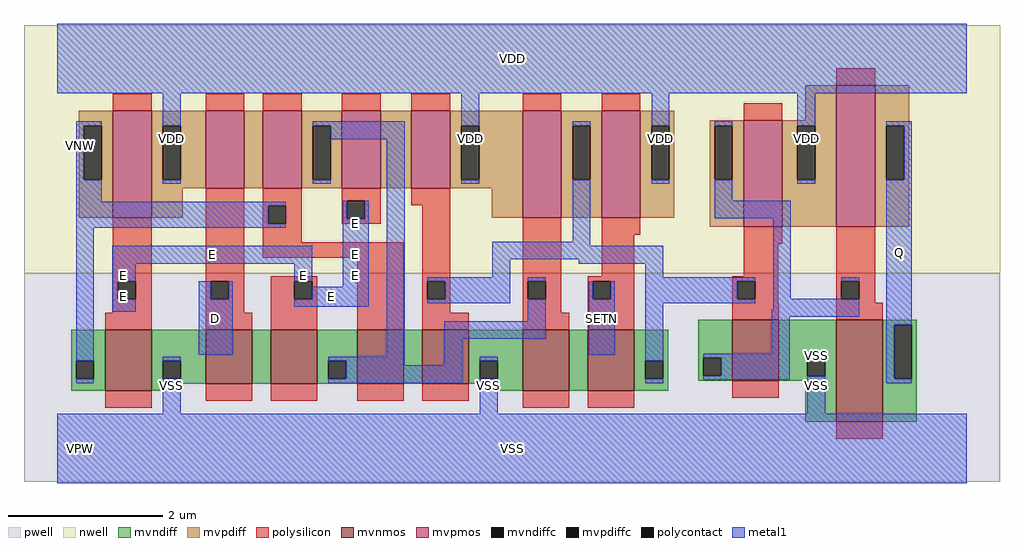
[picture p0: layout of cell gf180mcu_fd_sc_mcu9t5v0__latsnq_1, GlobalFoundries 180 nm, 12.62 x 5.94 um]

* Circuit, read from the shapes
.subckt gf180mcu_fd_sc_mcu9t5v0__latsnq_1 D E SETN Q VDD VNW VPW VSS
XM1 VSS E n1 VPW nfet_06v0 w=0.79u l=0.6u
XM2 n2 D VSS VPW nfet_06v0 w=0.7u l=0.6u
XM3 n3 E n2 VPW nfet_06v0 w=0.7u l=0.6u
XM4 n4 n1 n3 VPW nfet_06v0 w=0.7u l=0.6u
XM5 VSS n5 n4 VPW nfet_06v0 w=0.7u l=0.6u
XM6 n6 n3 VSS VPW nfet_06v0 w=0.79u l=0.6u
XM7 n5 SETN n6 VPW nfet_06v0 w=0.79u l=0.6u
XM8 VSS n5 n7 VPW nfet_06v0 w=0.79u l=0.6u
XM9 Q n7 VSS VPW nfet_06v0 w=1.32u l=0.6u
XM10 VDD E n1 VNW pfet_06v0 w=1.38u l=0.5u
XM11 n8 D VDD VNW pfet_06v0 w=1u l=0.5u
XM12 n3 n1 n8 VNW pfet_06v0 w=1u l=0.5u
XM13 n9 E n3 VNW pfet_06v0 w=1u l=0.5u
XM14 VDD n5 n9 VNW pfet_06v0 w=1u l=0.5u
XM15 n5 n3 VDD VNW pfet_06v0 w=1.38u l=0.5u
XM16 VDD SETN n5 VNW pfet_06v0 w=1.38u l=0.5u
XM17 VDD n5 n7 VNW pfet_06v0 w=1.38u l=0.5u
XM18 Q n7 VDD VNW pfet_06v0 w=1.83u l=0.5u
.ends

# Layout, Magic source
magic
tech gf180mcuD
magscale 1 10
<< nwell >>
rect -86 453 2438 1094
<< pwell >>
rect -86 -86 2438 453
<< mvnmos >>
rect 124 149 244 307
rect 384 167 504 307
rect 552 167 672 307
rect 776 167 896 307
rect 944 167 1064 307
rect 1204 149 1324 307
rect 1372 149 1492 307
rect 1746 175 1866 333
rect 2015 69 2135 333
<< mvpmos >>
rect 144 597 244 873
rect 384 673 484 873
rect 532 673 632 873
rect 736 673 836 873
rect 916 673 1016 873
rect 1204 597 1304 873
rect 1408 597 1508 873
rect 1775 573 1875 849
rect 2015 573 2115 939
<< mvndiff >>
rect 36 226 124 307
rect 36 180 49 226
rect 95 180 124 226
rect 36 149 124 180
rect 244 226 384 307
rect 244 180 273 226
rect 319 180 384 226
rect 244 167 384 180
rect 504 167 552 307
rect 672 226 776 307
rect 672 180 701 226
rect 747 180 776 226
rect 672 167 776 180
rect 896 167 944 307
rect 1064 226 1204 307
rect 1064 180 1093 226
rect 1139 180 1204 226
rect 1064 167 1204 180
rect 244 149 324 167
rect 1124 149 1204 167
rect 1324 149 1372 307
rect 1492 226 1580 307
rect 1492 180 1521 226
rect 1567 180 1580 226
rect 1492 149 1580 180
rect 1658 234 1746 333
rect 1658 188 1671 234
rect 1717 188 1746 234
rect 1658 175 1746 188
rect 1866 233 2015 333
rect 1866 187 1940 233
rect 1986 187 2015 233
rect 1866 175 2015 187
rect 1935 69 2015 175
rect 2135 320 2223 333
rect 2135 180 2164 320
rect 2210 180 2223 320
rect 2135 69 2223 180
<< mvpdiff >>
rect 56 835 144 873
rect 56 695 69 835
rect 115 695 144 835
rect 56 597 144 695
rect 244 835 384 873
rect 244 695 273 835
rect 319 695 384 835
rect 244 673 384 695
rect 484 673 532 873
rect 632 835 736 873
rect 632 695 661 835
rect 707 695 736 835
rect 632 673 736 695
rect 836 673 916 873
rect 1016 835 1204 873
rect 1016 695 1045 835
rect 1091 695 1204 835
rect 1016 673 1204 695
rect 244 597 324 673
rect 1124 597 1204 673
rect 1304 835 1408 873
rect 1304 695 1333 835
rect 1379 695 1408 835
rect 1304 597 1408 695
rect 1508 835 1596 873
rect 1935 849 2015 939
rect 1508 695 1537 835
rect 1583 695 1596 835
rect 1508 597 1596 695
rect 1687 835 1775 849
rect 1687 695 1700 835
rect 1746 695 1775 835
rect 1687 573 1775 695
rect 1875 835 2015 849
rect 1875 695 1914 835
rect 1960 695 2015 835
rect 1875 573 2015 695
rect 2115 835 2203 939
rect 2115 695 2144 835
rect 2190 695 2203 835
rect 2115 573 2203 695
<< mvndiffc >>
rect 49 180 95 226
rect 273 180 319 226
rect 701 180 747 226
rect 1093 180 1139 226
rect 1521 180 1567 226
rect 1671 188 1717 234
rect 1940 187 1986 233
rect 2164 180 2210 320
<< mvpdiffc >>
rect 69 695 115 835
rect 273 695 319 835
rect 661 695 707 835
rect 1045 695 1091 835
rect 1333 695 1379 835
rect 1537 695 1583 835
rect 1700 695 1746 835
rect 1914 695 1960 835
rect 2144 695 2190 835
<< polysilicon >>
rect 2015 939 2115 983
rect 144 873 244 917
rect 384 873 484 917
rect 532 873 632 917
rect 736 873 836 917
rect 916 873 1016 917
rect 1204 873 1304 917
rect 1408 873 1508 917
rect 144 432 244 597
rect 144 386 157 432
rect 203 386 244 432
rect 144 351 244 386
rect 124 307 244 351
rect 384 432 484 673
rect 532 627 632 673
rect 532 581 545 627
rect 591 581 632 627
rect 736 640 836 673
rect 736 594 749 640
rect 795 594 836 640
rect 916 629 1016 673
rect 736 581 836 594
rect 532 533 632 581
rect 532 493 896 533
rect 384 386 397 432
rect 443 386 484 432
rect 384 351 484 386
rect 552 432 672 445
rect 552 386 613 432
rect 659 386 672 432
rect 384 307 504 351
rect 552 307 672 386
rect 776 307 896 493
rect 944 432 1016 629
rect 1775 849 1875 893
rect 944 386 957 432
rect 1003 386 1016 432
rect 944 351 1016 386
rect 1204 432 1304 597
rect 1408 553 1508 597
rect 1408 445 1492 553
rect 1775 529 1875 573
rect 1775 445 1865 529
rect 1204 386 1217 432
rect 1263 386 1304 432
rect 1204 351 1304 386
rect 1372 432 1492 445
rect 1372 386 1385 432
rect 1431 386 1492 432
rect 944 307 1064 351
rect 1204 307 1324 351
rect 1372 307 1492 386
rect 1746 432 1865 445
rect 1746 386 1759 432
rect 1805 386 1865 432
rect 1746 377 1865 386
rect 2015 432 2115 573
rect 2015 386 2028 432
rect 2074 386 2115 432
rect 2015 377 2115 386
rect 1746 333 1866 377
rect 2015 333 2135 377
rect 124 105 244 149
rect 384 123 504 167
rect 552 123 672 167
rect 776 123 896 167
rect 944 123 1064 167
rect 1204 105 1324 149
rect 1372 105 1492 149
rect 1746 131 1866 175
rect 2015 25 2135 69
<< polycontact >>
rect 157 386 203 432
rect 545 581 591 627
rect 749 594 795 640
rect 397 386 443 432
rect 613 386 659 432
rect 957 386 1003 432
rect 1217 386 1263 432
rect 1385 386 1431 432
rect 1759 386 1805 432
rect 2028 386 2074 432
<< metal1 >>
rect 0 918 2352 1098
rect 49 835 115 846
rect 49 695 69 835
rect 49 638 115 695
rect 273 835 319 918
rect 273 684 319 695
rect 661 835 898 846
rect 707 800 898 835
rect 661 684 707 695
rect 49 627 591 638
rect 49 581 545 627
rect 49 570 591 581
rect 738 594 749 640
rect 795 594 806 640
rect 49 226 95 570
rect 142 478 659 524
rect 142 432 203 478
rect 613 432 659 478
rect 142 386 157 432
rect 142 354 203 386
rect 366 386 397 432
rect 443 386 454 432
rect 366 242 454 386
rect 738 418 806 594
rect 659 386 806 418
rect 613 366 806 386
rect 852 237 898 800
rect 1045 835 1091 918
rect 1045 684 1091 695
rect 1333 835 1379 846
rect 1333 535 1379 695
rect 1537 835 1583 918
rect 1537 684 1583 695
rect 1700 835 1746 846
rect 1700 641 1746 695
rect 1914 835 1960 918
rect 1914 684 1960 695
rect 2144 835 2210 846
rect 2190 695 2210 835
rect 1700 595 1897 641
rect 1125 524 1379 535
rect 1125 489 1567 524
rect 1125 443 1171 489
rect 1349 478 1567 489
rect 1521 443 1567 478
rect 957 432 1171 443
rect 1003 386 1171 432
rect 957 375 1171 386
rect 1217 432 1263 443
rect 1521 432 1805 443
rect 1217 329 1263 386
rect 49 169 95 180
rect 273 226 319 237
rect 273 90 319 180
rect 701 226 898 237
rect 747 215 898 226
rect 1001 283 1263 329
rect 1374 386 1385 432
rect 1431 386 1442 432
rect 1001 215 1047 283
rect 1374 242 1442 386
rect 1521 386 1759 432
rect 1521 375 1805 386
rect 1851 387 1897 595
rect 2028 432 2074 443
rect 1851 386 2028 387
rect 747 180 1047 215
rect 701 169 1047 180
rect 1093 226 1139 237
rect 1093 90 1139 180
rect 1521 226 1567 375
rect 1851 358 2074 386
rect 1848 341 2074 358
rect 1848 245 1894 341
rect 1521 169 1567 180
rect 1671 234 1894 245
rect 2144 320 2210 695
rect 1717 188 1894 234
rect 1671 177 1894 188
rect 1940 233 1986 244
rect 1940 90 1986 187
rect 2144 180 2164 320
rect 2144 169 2210 180
rect 0 -90 2352 90
<< labels >>
flabel metal1 s 366 242 454 432 0 FreeSans 200 0 0 0 D
port 1 nsew default input
flabel metal1 s 738 524 806 640 0 FreeSans 200 0 0 0 E
port 2 nsew clock input
flabel metal1 s 2144 169 2210 846 0 FreeSans 200 0 0 0 Q
port 4 nsew default output
flabel metal1 s 1374 242 1442 432 0 FreeSans 200 0 0 0 SETN
port 3 nsew default input
flabel metal1 s 0 918 2352 1098 0 FreeSans 200 0 0 0 VDD
port 5 nsew power bidirectional abutment
flabel metal1 s 1940 237 1986 244 0 FreeSans 200 0 0 0 VSS
port 8 nsew ground bidirectional abutment
flabel nwell s 10 734 110 834 0 FreeSans 400 0 0 0 VNW
port 6 nsew power bidirectional
flabel pwell s 10 -50 110 50 0 FreeSans 400 0 0 0 VPW
port 7 nsew ground bidirectional
rlabel metal1 s 738 478 806 524 1 E
port 2 nsew clock input
rlabel metal1 s 142 478 659 524 1 E
port 2 nsew clock input
rlabel metal1 s 738 418 806 478 1 E
port 2 nsew clock input
rlabel metal1 s 613 418 659 478 1 E
port 2 nsew clock input
rlabel metal1 s 142 418 203 478 1 E
port 2 nsew clock input
rlabel metal1 s 613 366 806 418 1 E
port 2 nsew clock input
rlabel metal1 s 142 366 203 418 1 E
port 2 nsew clock input
rlabel metal1 s 142 354 203 366 1 E
port 2 nsew clock input
rlabel metal1 s 1914 684 1960 918 1 VDD
port 5 nsew power bidirectional abutment
rlabel metal1 s 1537 684 1583 918 1 VDD
port 5 nsew power bidirectional abutment
rlabel metal1 s 1045 684 1091 918 1 VDD
port 5 nsew power bidirectional abutment
rlabel metal1 s 273 684 319 918 1 VDD
port 5 nsew power bidirectional abutment
rlabel metal1 s 1940 90 1986 237 1 VSS
port 8 nsew ground bidirectional abutment
rlabel metal1 s 1093 90 1139 237 1 VSS
port 8 nsew ground bidirectional abutment
rlabel metal1 s 273 90 319 237 1 VSS
port 8 nsew ground bidirectional abutment
rlabel metal1 s 0 -90 2352 90 1 VSS
port 8 nsew ground bidirectional abutment
<< properties >>
string FIXED_BBOX 0 0 2352 1008
string GDS_END 1054368
string GDS_FILE $PDKPATH/libs.ref/gf180mcu_fd_sc_mcu9t5v0/gds/gf180mcu_fd_sc_mcu9t5v0.gds
string GDS_START 1048204
string LEFclass core
string LEFsite GF018hv5v_green_sc9
string LEFsymmetry X Y
<< end >>
